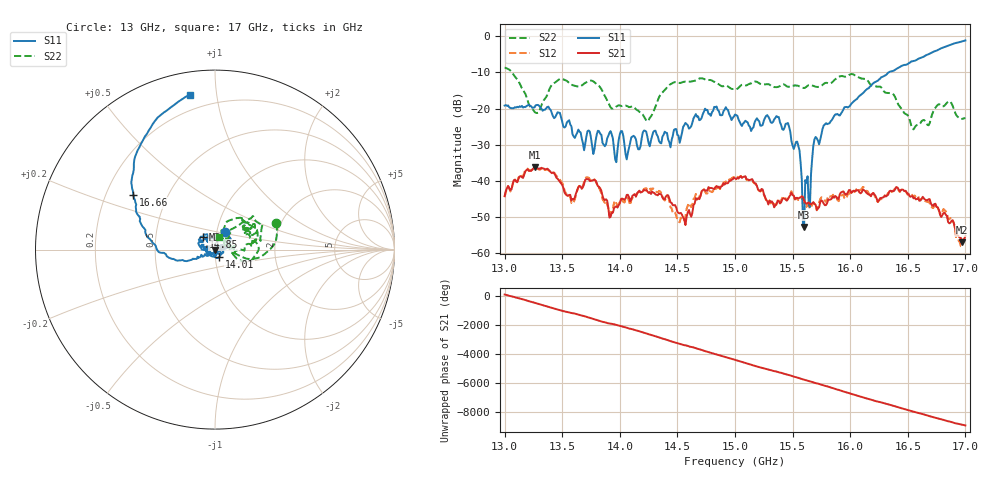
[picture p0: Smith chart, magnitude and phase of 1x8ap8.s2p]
!Keysight Technologies,P9374A,MY57211807,A.19.30.04
!Date: Friday, May 08, 2026 14:32:58
!Correction: S11(C  2-Port  )
!S21(C  2-Port  )
!S12(C  2-Port  )
!S22(C  2-Port  )
!S2P File: Measurements: S11, S21, S12, S22:
# Hz S  dB  R 50
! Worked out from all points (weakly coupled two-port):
!   401 points, 13 GHz to 17 GHz, reference 50 ohm
!   highest |S21| = -36.12 dB at 13.26 GHz (marker M1); lowest = -56.9 dB at 16.97 GHz (marker M2)
!   lowest |S11| = -52.7 dB at 15.6 GHz (marker M3), VSWR 1.00, Z = 49.8 - j0.116 ohm
!   |S11| at or under -10 dB: start of sweep to 16.33 GHz
!   |S22| runs from -25.7 to -8.7 dB; largest |S21 - S12| = 0.0013
!   S11 on the Smith chart (normalised r, x): 13 GHz: 1.09, +0.21; 14.01 GHz: 1.05, -0.09; 14.85 GHz: 0.87, +0.12; 16.66 GHz: 0.32, +0.28; 17 GHz: 0.12, +0.84
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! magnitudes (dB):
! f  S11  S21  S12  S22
! 13 GHz  -19.2  -44.1  -44.5  -8.7
! 13.26 GHz  -19.6  -36.1  -36.2  -20.9
! 13.59 GHz  -27.1  -44.9  -45.7  -13.5
! 13.67 GHz  -28.3  -42.1  -41.9  -13.6
! 13.97 GHz  -34.8  -47.0  -46.2  -19.4
! 14.01 GHz  -26.2  -45.0  -45.0  -19.3
! 14.06 GHz  -34.0  -43.8  -44.6  -19.3
! 14.24 GHz  -27.9  -42.9  -42.5  -23.5
! 14.34 GHz  -29.0  -43.4  -42.7  -16.9
! 14.53 GHz  -28.1  -48.8  -50.1  -12.9
! 14.85 GHz  -20.4  -41.6  -42.0  -13.1
! 15 GHz  -21.6  -39.2  -39.0  -14.6
! 15.46 GHz  -24.0  -44.9  -44.9  -14.0
! 15.55 GHz  -30.3  -44.9  -45.2  -13.7
! 15.6 GHz  -52.7  -45.4  -46.2  -14.3
! 15.67 GHz  -33.8  -46.1  -46.6  -13.6
! 15.78 GHz  -24.4  -46.7  -45.4  -13.0
! 16.34 GHz  -9.9  -42.8  -42.7  -15.7
! 16.66 GHz  -5.2  -45.3  -45.6  -23.9
! 16.86 GHz  -2.5  -51.7  -50.6  -18.0
! 16.97 GHz  -1.4  -56.9  -57.9  -22.8
! 17 GHz  -1.2  -55.1  -55.7  -22.6
